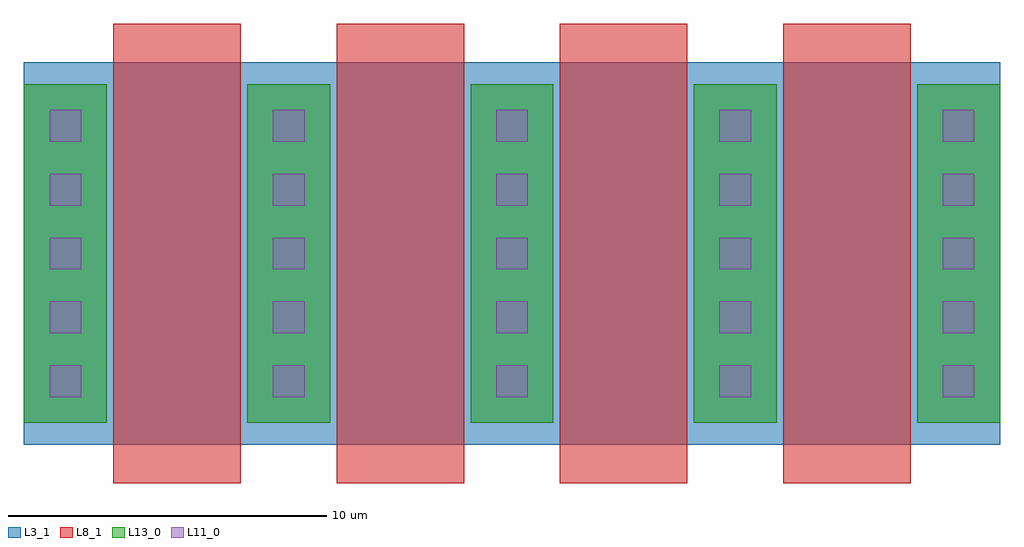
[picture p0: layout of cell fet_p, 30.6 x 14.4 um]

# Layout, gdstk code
import gdstk
lib = gdstk.Library(unit=1e-6, precision=1e-07)
def R(c, l, rs):  # rectangles x0, y0, x1, y1
    for r in rs: c.add(gdstk.rectangle(r[:2], r[2:], *l))
def A(c, l, x, y, w, h, nx, ny, dx, dy):  # array of equal rectangles
    R(c, l, [(x+i*dx, y+j*dy, x+i*dx+w, y+j*dy+h) for i in range(nx) for j in range(ny)])
L3_1 = (3, 1)
L8_1 = (8, 1)
L11_0 = (11, 0)
L13_0 = (13, 0)

fet_p = lib.new_cell('fet_p')
R(fet_p, L3_1, [(-15.3,-6,15.3,6)])
A(fet_p, L11_0, -14.5, -4.5, 1, 1, 5, 5, 7, 2)
A(fet_p, L13_0, -15.3, -5.3, 2.6, 10.6, 5, 1, 7, 0)
fet_p.add(gdstk.FlexPath([(3.5,-7.2),(3.5,7.2)], 4, ends="flush", simple_path=True, layer=8, datatype=1))  # L8_1
fet_p.add(gdstk.FlexPath([(-3.5,-7.2),(-3.5,7.2)], 4, ends="flush", simple_path=True, layer=8, datatype=1))  # L8_1
fet_p.add(gdstk.FlexPath([(10.5,-7.2),(10.5,7.2)], 4, ends="flush", simple_path=True, layer=8, datatype=1))  # L8_1
fet_p.add(gdstk.FlexPath([(-10.5,-7.2),(-10.5,7.2)], 4, ends="flush", simple_path=True, layer=8, datatype=1))  # L8_1

lib.write_gds('fet_p.gds')
